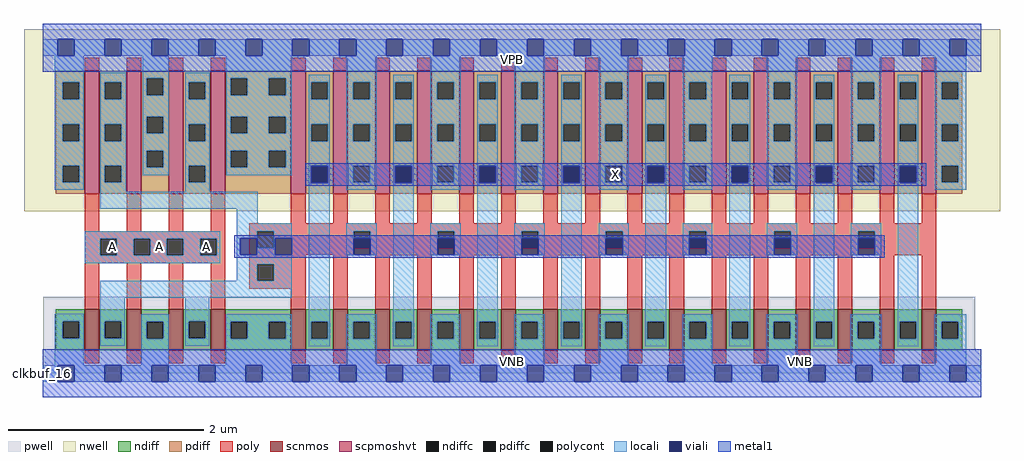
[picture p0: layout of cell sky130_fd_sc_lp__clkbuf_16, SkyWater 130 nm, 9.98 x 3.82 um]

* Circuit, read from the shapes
.subckt sky130_fd_sc_lp__clkbuf_16 A VGND VNB VPB VPWR X
XM1 n1 A VGND VNB sky130_fd_pr__nfet_01v8 w=0.42 l=0.15 m=4
XM2 X n1 VGND VNB sky130_fd_pr__nfet_01v8 w=0.42 l=0.15 m=16
XM3 n1 A VPWR VPB sky130_fd_pr__pfet_01v8_hvt w=1.26 l=0.15 m=4
XM4 X n1 VPWR VPB sky130_fd_pr__pfet_01v8_hvt w=1.26 l=0.15 m=16
.ends

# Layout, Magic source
magic
tech sky130A
magscale 1 2
<< nwell >>
rect -38 331 1958 704
<< pwell >>
rect 1 49 1907 157
rect 0 0 1920 49
<< scnmos >>
rect 86 47 116 131
rect 172 47 202 131
rect 258 47 288 131
rect 344 47 374 131
rect 508 47 538 131
rect 594 47 624 131
rect 680 47 710 131
rect 766 47 796 131
rect 852 47 882 131
rect 938 47 968 131
rect 1024 47 1054 131
rect 1110 47 1140 131
rect 1196 47 1226 131
rect 1282 47 1312 131
rect 1368 47 1398 131
rect 1454 47 1484 131
rect 1540 47 1570 131
rect 1626 47 1656 131
rect 1712 47 1742 131
rect 1798 47 1828 131
<< scpmoshvt >>
rect 86 367 116 619
rect 172 367 202 619
rect 258 367 288 619
rect 344 367 374 619
rect 508 367 538 619
rect 594 367 624 619
rect 680 367 710 619
rect 766 367 796 619
rect 852 367 882 619
rect 938 367 968 619
rect 1024 367 1054 619
rect 1110 367 1140 619
rect 1196 367 1226 619
rect 1282 367 1312 619
rect 1368 367 1398 619
rect 1454 367 1484 619
rect 1540 367 1570 619
rect 1626 367 1656 619
rect 1712 367 1742 619
rect 1798 367 1828 619
<< ndiff >>
rect 27 106 86 131
rect 27 72 41 106
rect 75 72 86 106
rect 27 47 86 72
rect 116 106 172 131
rect 116 72 127 106
rect 161 72 172 106
rect 116 47 172 72
rect 202 105 258 131
rect 202 71 213 105
rect 247 71 258 105
rect 202 47 258 71
rect 288 106 344 131
rect 288 72 299 106
rect 333 72 344 106
rect 288 47 344 72
rect 374 105 508 131
rect 374 71 385 105
rect 419 71 463 105
rect 497 71 508 105
rect 374 47 508 71
rect 538 105 594 131
rect 538 71 549 105
rect 583 71 594 105
rect 538 47 594 71
rect 624 105 680 131
rect 624 71 635 105
rect 669 71 680 105
rect 624 47 680 71
rect 710 105 766 131
rect 710 71 721 105
rect 755 71 766 105
rect 710 47 766 71
rect 796 105 852 131
rect 796 71 807 105
rect 841 71 852 105
rect 796 47 852 71
rect 882 105 938 131
rect 882 71 893 105
rect 927 71 938 105
rect 882 47 938 71
rect 968 105 1024 131
rect 968 71 979 105
rect 1013 71 1024 105
rect 968 47 1024 71
rect 1054 105 1110 131
rect 1054 71 1065 105
rect 1099 71 1110 105
rect 1054 47 1110 71
rect 1140 105 1196 131
rect 1140 71 1151 105
rect 1185 71 1196 105
rect 1140 47 1196 71
rect 1226 105 1282 131
rect 1226 71 1237 105
rect 1271 71 1282 105
rect 1226 47 1282 71
rect 1312 105 1368 131
rect 1312 71 1323 105
rect 1357 71 1368 105
rect 1312 47 1368 71
rect 1398 105 1454 131
rect 1398 71 1409 105
rect 1443 71 1454 105
rect 1398 47 1454 71
rect 1484 105 1540 131
rect 1484 71 1495 105
rect 1529 71 1540 105
rect 1484 47 1540 71
rect 1570 105 1626 131
rect 1570 71 1581 105
rect 1615 71 1626 105
rect 1570 47 1626 71
rect 1656 105 1712 131
rect 1656 71 1667 105
rect 1701 71 1712 105
rect 1656 47 1712 71
rect 1742 105 1798 131
rect 1742 71 1753 105
rect 1787 71 1798 105
rect 1742 47 1798 71
rect 1828 105 1881 131
rect 1828 71 1839 105
rect 1873 71 1881 105
rect 1828 47 1881 71
<< pdiff >>
rect 27 595 86 619
rect 27 561 41 595
rect 75 561 86 595
rect 27 509 86 561
rect 27 475 41 509
rect 75 475 86 509
rect 27 425 86 475
rect 27 391 41 425
rect 75 391 86 425
rect 27 367 86 391
rect 116 595 172 619
rect 116 561 127 595
rect 161 561 172 595
rect 116 509 172 561
rect 116 475 127 509
rect 161 475 172 509
rect 116 425 172 475
rect 116 391 127 425
rect 161 391 172 425
rect 116 367 172 391
rect 202 603 258 619
rect 202 569 213 603
rect 247 569 258 603
rect 202 525 258 569
rect 202 491 213 525
rect 247 491 258 525
rect 202 455 258 491
rect 202 421 213 455
rect 247 421 258 455
rect 202 367 258 421
rect 288 595 344 619
rect 288 561 299 595
rect 333 561 344 595
rect 288 509 344 561
rect 288 475 299 509
rect 333 475 344 509
rect 288 425 344 475
rect 288 391 299 425
rect 333 391 344 425
rect 288 367 344 391
rect 374 603 508 619
rect 374 569 385 603
rect 419 569 463 603
rect 497 569 508 603
rect 374 525 508 569
rect 374 491 385 525
rect 419 491 463 525
rect 497 491 508 525
rect 374 455 508 491
rect 374 421 385 455
rect 419 421 463 455
rect 497 421 508 455
rect 374 367 508 421
rect 538 595 594 619
rect 538 561 549 595
rect 583 561 594 595
rect 538 509 594 561
rect 538 475 549 509
rect 583 475 594 509
rect 538 425 594 475
rect 538 391 549 425
rect 583 391 594 425
rect 538 367 594 391
rect 624 595 680 619
rect 624 561 635 595
rect 669 561 680 595
rect 624 509 680 561
rect 624 475 635 509
rect 669 475 680 509
rect 624 425 680 475
rect 624 391 635 425
rect 669 391 680 425
rect 624 367 680 391
rect 710 595 766 619
rect 710 561 721 595
rect 755 561 766 595
rect 710 509 766 561
rect 710 475 721 509
rect 755 475 766 509
rect 710 425 766 475
rect 710 391 721 425
rect 755 391 766 425
rect 710 367 766 391
rect 796 595 852 619
rect 796 561 807 595
rect 841 561 852 595
rect 796 509 852 561
rect 796 475 807 509
rect 841 475 852 509
rect 796 425 852 475
rect 796 391 807 425
rect 841 391 852 425
rect 796 367 852 391
rect 882 595 938 619
rect 882 561 893 595
rect 927 561 938 595
rect 882 509 938 561
rect 882 475 893 509
rect 927 475 938 509
rect 882 425 938 475
rect 882 391 893 425
rect 927 391 938 425
rect 882 367 938 391
rect 968 595 1024 619
rect 968 561 979 595
rect 1013 561 1024 595
rect 968 509 1024 561
rect 968 475 979 509
rect 1013 475 1024 509
rect 968 425 1024 475
rect 968 391 979 425
rect 1013 391 1024 425
rect 968 367 1024 391
rect 1054 595 1110 619
rect 1054 561 1065 595
rect 1099 561 1110 595
rect 1054 509 1110 561
rect 1054 475 1065 509
rect 1099 475 1110 509
rect 1054 425 1110 475
rect 1054 391 1065 425
rect 1099 391 1110 425
rect 1054 367 1110 391
rect 1140 595 1196 619
rect 1140 561 1151 595
rect 1185 561 1196 595
rect 1140 509 1196 561
rect 1140 475 1151 509
rect 1185 475 1196 509
rect 1140 425 1196 475
rect 1140 391 1151 425
rect 1185 391 1196 425
rect 1140 367 1196 391
rect 1226 595 1282 619
rect 1226 561 1237 595
rect 1271 561 1282 595
rect 1226 509 1282 561
rect 1226 475 1237 509
rect 1271 475 1282 509
rect 1226 425 1282 475
rect 1226 391 1237 425
rect 1271 391 1282 425
rect 1226 367 1282 391
rect 1312 595 1368 619
rect 1312 561 1323 595
rect 1357 561 1368 595
rect 1312 509 1368 561
rect 1312 475 1323 509
rect 1357 475 1368 509
rect 1312 425 1368 475
rect 1312 391 1323 425
rect 1357 391 1368 425
rect 1312 367 1368 391
rect 1398 595 1454 619
rect 1398 561 1409 595
rect 1443 561 1454 595
rect 1398 509 1454 561
rect 1398 475 1409 509
rect 1443 475 1454 509
rect 1398 425 1454 475
rect 1398 391 1409 425
rect 1443 391 1454 425
rect 1398 367 1454 391
rect 1484 595 1540 619
rect 1484 561 1495 595
rect 1529 561 1540 595
rect 1484 509 1540 561
rect 1484 475 1495 509
rect 1529 475 1540 509
rect 1484 425 1540 475
rect 1484 391 1495 425
rect 1529 391 1540 425
rect 1484 367 1540 391
rect 1570 595 1626 619
rect 1570 561 1581 595
rect 1615 561 1626 595
rect 1570 509 1626 561
rect 1570 475 1581 509
rect 1615 475 1626 509
rect 1570 425 1626 475
rect 1570 391 1581 425
rect 1615 391 1626 425
rect 1570 367 1626 391
rect 1656 595 1712 619
rect 1656 561 1667 595
rect 1701 561 1712 595
rect 1656 509 1712 561
rect 1656 475 1667 509
rect 1701 475 1712 509
rect 1656 425 1712 475
rect 1656 391 1667 425
rect 1701 391 1712 425
rect 1656 367 1712 391
rect 1742 595 1798 619
rect 1742 561 1753 595
rect 1787 561 1798 595
rect 1742 509 1798 561
rect 1742 475 1753 509
rect 1787 475 1798 509
rect 1742 425 1798 475
rect 1742 391 1753 425
rect 1787 391 1798 425
rect 1742 367 1798 391
rect 1828 595 1881 619
rect 1828 561 1839 595
rect 1873 561 1881 595
rect 1828 509 1881 561
rect 1828 475 1839 509
rect 1873 475 1881 509
rect 1828 425 1881 475
rect 1828 391 1839 425
rect 1873 391 1881 425
rect 1828 367 1881 391
<< ndiffc >>
rect 41 72 75 106
rect 127 72 161 106
rect 213 71 247 105
rect 299 72 333 106
rect 385 71 419 105
rect 463 71 497 105
rect 549 71 583 105
rect 635 71 669 105
rect 721 71 755 105
rect 807 71 841 105
rect 893 71 927 105
rect 979 71 1013 105
rect 1065 71 1099 105
rect 1151 71 1185 105
rect 1237 71 1271 105
rect 1323 71 1357 105
rect 1409 71 1443 105
rect 1495 71 1529 105
rect 1581 71 1615 105
rect 1667 71 1701 105
rect 1753 71 1787 105
rect 1839 71 1873 105
<< pdiffc >>
rect 41 561 75 595
rect 41 475 75 509
rect 41 391 75 425
rect 127 561 161 595
rect 127 475 161 509
rect 127 391 161 425
rect 213 569 247 603
rect 213 491 247 525
rect 213 421 247 455
rect 299 561 333 595
rect 299 475 333 509
rect 299 391 333 425
rect 385 569 419 603
rect 463 569 497 603
rect 385 491 419 525
rect 463 491 497 525
rect 385 421 419 455
rect 463 421 497 455
rect 549 561 583 595
rect 549 475 583 509
rect 549 391 583 425
rect 635 561 669 595
rect 635 475 669 509
rect 635 391 669 425
rect 721 561 755 595
rect 721 475 755 509
rect 721 391 755 425
rect 807 561 841 595
rect 807 475 841 509
rect 807 391 841 425
rect 893 561 927 595
rect 893 475 927 509
rect 893 391 927 425
rect 979 561 1013 595
rect 979 475 1013 509
rect 979 391 1013 425
rect 1065 561 1099 595
rect 1065 475 1099 509
rect 1065 391 1099 425
rect 1151 561 1185 595
rect 1151 475 1185 509
rect 1151 391 1185 425
rect 1237 561 1271 595
rect 1237 475 1271 509
rect 1237 391 1271 425
rect 1323 561 1357 595
rect 1323 475 1357 509
rect 1323 391 1357 425
rect 1409 561 1443 595
rect 1409 475 1443 509
rect 1409 391 1443 425
rect 1495 561 1529 595
rect 1495 475 1529 509
rect 1495 391 1529 425
rect 1581 561 1615 595
rect 1581 475 1615 509
rect 1581 391 1615 425
rect 1667 561 1701 595
rect 1667 475 1701 509
rect 1667 391 1701 425
rect 1753 561 1787 595
rect 1753 475 1787 509
rect 1753 391 1787 425
rect 1839 561 1873 595
rect 1839 475 1873 509
rect 1839 391 1873 425
<< poly >>
rect 86 619 116 645
rect 172 619 202 645
rect 258 619 288 645
rect 344 619 374 645
rect 508 619 538 645
rect 594 619 624 645
rect 680 619 710 645
rect 766 619 796 645
rect 852 619 882 645
rect 938 619 968 645
rect 1024 619 1054 645
rect 1110 619 1140 645
rect 1196 619 1226 645
rect 1282 619 1312 645
rect 1368 619 1398 645
rect 1454 619 1484 645
rect 1540 619 1570 645
rect 1626 619 1656 645
rect 1712 619 1742 645
rect 1798 619 1828 645
rect 86 291 116 367
rect 172 291 202 367
rect 258 291 288 367
rect 344 291 374 367
rect 508 307 538 367
rect 594 307 624 367
rect 680 307 710 367
rect 766 307 796 367
rect 852 307 882 367
rect 938 307 968 367
rect 1024 307 1054 367
rect 1110 307 1140 367
rect 1196 307 1226 367
rect 1282 307 1312 367
rect 1368 307 1398 367
rect 1454 307 1484 367
rect 1540 307 1570 367
rect 1626 307 1656 367
rect 1712 307 1742 367
rect 1798 307 1828 367
rect 86 275 374 291
rect 86 241 118 275
rect 152 241 186 275
rect 220 241 254 275
rect 288 241 322 275
rect 356 241 374 275
rect 86 225 374 241
rect 86 131 116 225
rect 172 131 202 225
rect 258 131 288 225
rect 344 131 374 225
rect 423 291 1828 307
rect 423 257 439 291
rect 473 257 636 291
rect 670 257 808 291
rect 842 257 980 291
rect 1014 257 1152 291
rect 1186 257 1323 291
rect 1357 257 1496 291
rect 1530 257 1668 291
rect 1702 257 1828 291
rect 423 242 1828 257
rect 423 223 538 242
rect 423 189 439 223
rect 473 189 538 223
rect 423 173 538 189
rect 508 131 538 173
rect 594 241 1828 242
rect 594 131 624 241
rect 680 131 710 241
rect 766 131 796 241
rect 852 131 882 241
rect 938 131 968 241
rect 1024 131 1054 241
rect 1110 131 1140 241
rect 1196 131 1226 241
rect 1282 131 1312 241
rect 1368 131 1398 241
rect 1454 131 1484 241
rect 1540 131 1570 241
rect 1626 131 1656 241
rect 1712 131 1742 241
rect 1798 131 1828 241
rect 86 21 116 47
rect 172 21 202 47
rect 258 21 288 47
rect 344 21 374 47
rect 508 21 538 47
rect 594 21 624 47
rect 680 21 710 47
rect 766 21 796 47
rect 852 21 882 47
rect 938 21 968 47
rect 1024 21 1054 47
rect 1110 21 1140 47
rect 1196 21 1226 47
rect 1282 21 1312 47
rect 1368 21 1398 47
rect 1454 21 1484 47
rect 1540 21 1570 47
rect 1626 21 1656 47
rect 1712 21 1742 47
rect 1798 21 1828 47
<< polycont >>
rect 118 241 152 275
rect 186 241 220 275
rect 254 241 288 275
rect 322 241 356 275
rect 439 257 473 291
rect 636 257 670 291
rect 808 257 842 291
rect 980 257 1014 291
rect 1152 257 1186 291
rect 1323 257 1357 291
rect 1496 257 1530 291
rect 1668 257 1702 291
rect 439 189 473 223
<< locali >>
rect 0 649 31 683
rect 65 649 127 683
rect 161 649 223 683
rect 257 649 319 683
rect 353 649 415 683
rect 449 649 511 683
rect 545 649 607 683
rect 641 649 703 683
rect 737 649 799 683
rect 833 649 895 683
rect 929 649 991 683
rect 1025 649 1087 683
rect 1121 649 1183 683
rect 1217 649 1279 683
rect 1313 649 1375 683
rect 1409 649 1471 683
rect 1505 649 1567 683
rect 1601 649 1663 683
rect 1697 649 1759 683
rect 1793 649 1855 683
rect 1889 649 1920 683
rect 25 595 84 649
rect 25 561 41 595
rect 75 561 84 595
rect 25 509 84 561
rect 25 475 41 509
rect 75 475 84 509
rect 25 425 84 475
rect 25 391 41 425
rect 75 391 84 425
rect 25 375 84 391
rect 118 595 171 615
rect 118 561 127 595
rect 161 561 171 595
rect 118 509 171 561
rect 118 475 127 509
rect 161 475 171 509
rect 118 425 171 475
rect 118 391 127 425
rect 161 391 171 425
rect 205 603 258 649
rect 205 569 213 603
rect 247 569 258 603
rect 205 525 258 569
rect 205 491 213 525
rect 247 491 258 525
rect 205 455 258 491
rect 205 421 213 455
rect 247 421 258 455
rect 205 405 258 421
rect 292 595 342 615
rect 292 561 299 595
rect 333 561 342 595
rect 292 509 342 561
rect 292 475 299 509
rect 333 475 342 509
rect 292 425 342 475
rect 118 371 171 391
rect 292 391 299 425
rect 333 391 342 425
rect 376 603 510 649
rect 376 569 385 603
rect 419 569 463 603
rect 497 569 510 603
rect 376 525 510 569
rect 376 491 385 525
rect 419 491 463 525
rect 497 491 510 525
rect 376 455 510 491
rect 376 421 385 455
rect 419 421 463 455
rect 497 421 510 455
rect 376 405 510 421
rect 544 595 587 611
rect 544 561 549 595
rect 583 561 587 595
rect 544 509 587 561
rect 544 475 549 509
rect 583 475 587 509
rect 544 425 587 475
rect 292 371 342 391
rect 544 390 549 425
rect 583 390 587 425
rect 118 337 440 371
rect 397 307 440 337
rect 397 291 510 307
rect 86 275 363 291
rect 86 241 118 275
rect 152 241 186 275
rect 220 241 254 275
rect 288 241 322 275
rect 356 241 363 275
rect 86 225 363 241
rect 397 276 439 291
rect 397 242 404 276
rect 438 257 439 276
rect 473 276 510 291
rect 473 257 476 276
rect 438 242 476 257
rect 397 223 510 242
rect 397 189 439 223
rect 473 189 510 223
rect 118 155 510 189
rect 25 106 84 122
rect 25 72 41 106
rect 75 72 84 106
rect 25 17 84 72
rect 118 106 168 155
rect 118 72 127 106
rect 161 72 168 106
rect 118 56 168 72
rect 202 105 258 121
rect 202 71 213 105
rect 247 71 258 105
rect 202 17 258 71
rect 292 106 341 155
rect 292 72 299 106
rect 333 72 341 106
rect 292 56 341 72
rect 375 105 510 121
rect 375 71 385 105
rect 419 71 463 105
rect 497 71 510 105
rect 375 17 510 71
rect 544 105 587 390
rect 621 595 683 649
rect 621 561 635 595
rect 669 561 683 595
rect 621 509 683 561
rect 621 475 635 509
rect 669 475 683 509
rect 621 425 683 475
rect 621 391 635 425
rect 669 391 683 425
rect 621 375 683 391
rect 717 595 759 611
rect 717 561 721 595
rect 755 561 759 595
rect 717 509 759 561
rect 717 475 721 509
rect 755 475 759 509
rect 717 425 759 475
rect 717 390 721 425
rect 755 390 759 425
rect 621 291 683 307
rect 621 242 636 291
rect 670 242 683 291
rect 621 241 683 242
rect 544 71 549 105
rect 583 71 587 105
rect 544 55 587 71
rect 621 105 683 121
rect 621 71 635 105
rect 669 71 683 105
rect 621 17 683 71
rect 717 105 759 390
rect 793 595 855 649
rect 793 561 807 595
rect 841 561 855 595
rect 793 509 855 561
rect 793 475 807 509
rect 841 475 855 509
rect 793 425 855 475
rect 793 391 807 425
rect 841 391 855 425
rect 793 375 855 391
rect 889 595 931 611
rect 889 561 893 595
rect 927 561 931 595
rect 889 509 931 561
rect 889 475 893 509
rect 927 475 931 509
rect 889 425 931 475
rect 889 390 893 425
rect 927 390 931 425
rect 793 291 855 307
rect 793 242 808 291
rect 842 242 855 291
rect 793 241 855 242
rect 717 71 721 105
rect 755 71 759 105
rect 717 55 759 71
rect 793 105 855 121
rect 793 71 807 105
rect 841 71 855 105
rect 793 17 855 71
rect 889 105 931 390
rect 965 595 1027 649
rect 965 561 979 595
rect 1013 561 1027 595
rect 965 509 1027 561
rect 965 475 979 509
rect 1013 475 1027 509
rect 965 425 1027 475
rect 965 391 979 425
rect 1013 391 1027 425
rect 965 375 1027 391
rect 1061 595 1103 611
rect 1061 561 1065 595
rect 1099 561 1103 595
rect 1061 509 1103 561
rect 1061 475 1065 509
rect 1099 475 1103 509
rect 1061 425 1103 475
rect 1061 390 1065 425
rect 1099 390 1103 425
rect 965 291 1027 307
rect 965 242 980 291
rect 1014 242 1027 291
rect 965 241 1027 242
rect 889 71 893 105
rect 927 71 931 105
rect 889 55 931 71
rect 965 105 1027 121
rect 965 71 979 105
rect 1013 71 1027 105
rect 965 17 1027 71
rect 1061 105 1103 390
rect 1137 595 1199 649
rect 1137 561 1151 595
rect 1185 561 1199 595
rect 1137 509 1199 561
rect 1137 475 1151 509
rect 1185 475 1199 509
rect 1137 425 1199 475
rect 1137 391 1151 425
rect 1185 391 1199 425
rect 1137 375 1199 391
rect 1233 595 1275 611
rect 1233 561 1237 595
rect 1271 561 1275 595
rect 1233 509 1275 561
rect 1233 475 1237 509
rect 1271 475 1275 509
rect 1233 425 1275 475
rect 1233 390 1237 425
rect 1271 390 1275 425
rect 1137 291 1199 307
rect 1137 242 1152 291
rect 1186 242 1199 291
rect 1137 241 1199 242
rect 1061 71 1065 105
rect 1099 71 1103 105
rect 1061 55 1103 71
rect 1137 105 1199 121
rect 1137 71 1151 105
rect 1185 71 1199 105
rect 1137 17 1199 71
rect 1233 105 1275 390
rect 1309 595 1370 649
rect 1309 561 1323 595
rect 1357 561 1370 595
rect 1309 509 1370 561
rect 1309 475 1323 509
rect 1357 475 1370 509
rect 1309 425 1370 475
rect 1309 391 1323 425
rect 1357 391 1370 425
rect 1309 375 1370 391
rect 1404 595 1447 611
rect 1404 561 1409 595
rect 1443 561 1447 595
rect 1404 509 1447 561
rect 1404 475 1409 509
rect 1443 475 1447 509
rect 1404 425 1447 475
rect 1404 390 1409 425
rect 1443 390 1447 425
rect 1309 291 1370 307
rect 1309 242 1323 291
rect 1357 242 1370 291
rect 1309 241 1370 242
rect 1233 71 1237 105
rect 1271 71 1275 105
rect 1233 55 1275 71
rect 1309 105 1370 121
rect 1309 71 1323 105
rect 1357 71 1370 105
rect 1309 17 1370 71
rect 1404 105 1447 390
rect 1481 595 1543 649
rect 1481 561 1495 595
rect 1529 561 1543 595
rect 1481 509 1543 561
rect 1481 475 1495 509
rect 1529 475 1543 509
rect 1481 425 1543 475
rect 1481 391 1495 425
rect 1529 391 1543 425
rect 1481 375 1543 391
rect 1577 595 1619 611
rect 1577 561 1581 595
rect 1615 561 1619 595
rect 1577 509 1619 561
rect 1577 475 1581 509
rect 1615 475 1619 509
rect 1577 425 1619 475
rect 1577 390 1581 425
rect 1615 390 1619 425
rect 1481 291 1543 307
rect 1481 242 1496 291
rect 1530 242 1543 291
rect 1481 241 1543 242
rect 1404 71 1409 105
rect 1443 71 1447 105
rect 1404 55 1447 71
rect 1481 105 1543 121
rect 1481 71 1495 105
rect 1529 71 1543 105
rect 1481 17 1543 71
rect 1577 105 1619 390
rect 1653 595 1715 649
rect 1653 561 1667 595
rect 1701 561 1715 595
rect 1653 509 1715 561
rect 1653 475 1667 509
rect 1701 475 1715 509
rect 1653 425 1715 475
rect 1653 391 1667 425
rect 1701 391 1715 425
rect 1653 375 1715 391
rect 1749 595 1791 611
rect 1749 561 1753 595
rect 1787 561 1791 595
rect 1749 509 1791 561
rect 1749 475 1753 509
rect 1787 475 1791 509
rect 1749 425 1791 475
rect 1749 390 1753 425
rect 1787 390 1791 425
rect 1653 291 1715 307
rect 1653 242 1668 291
rect 1702 242 1715 291
rect 1653 241 1715 242
rect 1577 71 1581 105
rect 1615 71 1619 105
rect 1577 55 1619 71
rect 1653 105 1715 121
rect 1653 71 1667 105
rect 1701 71 1715 105
rect 1653 17 1715 71
rect 1749 105 1791 390
rect 1825 595 1889 649
rect 1825 561 1839 595
rect 1873 561 1889 595
rect 1825 509 1889 561
rect 1825 475 1839 509
rect 1873 475 1889 509
rect 1825 425 1889 475
rect 1825 391 1839 425
rect 1873 391 1889 425
rect 1825 375 1889 391
rect 1749 71 1753 105
rect 1787 71 1791 105
rect 1749 55 1791 71
rect 1825 105 1889 121
rect 1825 71 1839 105
rect 1873 71 1889 105
rect 1825 17 1889 71
rect 0 -17 31 17
rect 65 -17 127 17
rect 161 -17 223 17
rect 257 -17 319 17
rect 353 -17 415 17
rect 449 -17 511 17
rect 545 -17 607 17
rect 641 -17 703 17
rect 737 -17 799 17
rect 833 -17 895 17
rect 929 -17 991 17
rect 1025 -17 1087 17
rect 1121 -17 1183 17
rect 1217 -17 1279 17
rect 1313 -17 1375 17
rect 1409 -17 1471 17
rect 1505 -17 1567 17
rect 1601 -17 1663 17
rect 1697 -17 1759 17
rect 1793 -17 1855 17
rect 1889 -17 1920 17
<< viali >>
rect 31 649 65 683
rect 127 649 161 683
rect 223 649 257 683
rect 319 649 353 683
rect 415 649 449 683
rect 511 649 545 683
rect 607 649 641 683
rect 703 649 737 683
rect 799 649 833 683
rect 895 649 929 683
rect 991 649 1025 683
rect 1087 649 1121 683
rect 1183 649 1217 683
rect 1279 649 1313 683
rect 1375 649 1409 683
rect 1471 649 1505 683
rect 1567 649 1601 683
rect 1663 649 1697 683
rect 1759 649 1793 683
rect 1855 649 1889 683
rect 549 391 583 424
rect 549 390 583 391
rect 404 242 438 276
rect 476 242 510 276
rect 721 391 755 424
rect 721 390 755 391
rect 636 257 670 276
rect 636 242 670 257
rect 893 391 927 424
rect 893 390 927 391
rect 808 257 842 276
rect 808 242 842 257
rect 1065 391 1099 424
rect 1065 390 1099 391
rect 980 257 1014 276
rect 980 242 1014 257
rect 1237 391 1271 424
rect 1237 390 1271 391
rect 1152 257 1186 276
rect 1152 242 1186 257
rect 1409 391 1443 424
rect 1409 390 1443 391
rect 1323 257 1357 276
rect 1323 242 1357 257
rect 1581 391 1615 424
rect 1581 390 1615 391
rect 1496 257 1530 276
rect 1496 242 1530 257
rect 1753 391 1787 424
rect 1753 390 1787 391
rect 1668 257 1702 276
rect 1668 242 1702 257
rect 31 -17 65 17
rect 127 -17 161 17
rect 223 -17 257 17
rect 319 -17 353 17
rect 415 -17 449 17
rect 511 -17 545 17
rect 607 -17 641 17
rect 703 -17 737 17
rect 799 -17 833 17
rect 895 -17 929 17
rect 991 -17 1025 17
rect 1087 -17 1121 17
rect 1183 -17 1217 17
rect 1279 -17 1313 17
rect 1375 -17 1409 17
rect 1471 -17 1505 17
rect 1567 -17 1601 17
rect 1663 -17 1697 17
rect 1759 -17 1793 17
rect 1855 -17 1889 17
<< metal1 >>
rect 0 683 1920 715
rect 0 649 31 683
rect 65 649 127 683
rect 161 649 223 683
rect 257 649 319 683
rect 353 649 415 683
rect 449 649 511 683
rect 545 649 607 683
rect 641 649 703 683
rect 737 649 799 683
rect 833 649 895 683
rect 929 649 991 683
rect 1025 649 1087 683
rect 1121 649 1183 683
rect 1217 649 1279 683
rect 1313 649 1375 683
rect 1409 649 1471 683
rect 1505 649 1567 683
rect 1601 649 1663 683
rect 1697 649 1759 683
rect 1793 649 1855 683
rect 1889 649 1920 683
rect 0 617 1920 649
rect 537 424 1807 430
rect 537 390 549 424
rect 583 390 721 424
rect 755 390 893 424
rect 927 390 1065 424
rect 1099 390 1237 424
rect 1271 390 1409 424
rect 1443 390 1581 424
rect 1615 390 1753 424
rect 1787 390 1807 424
rect 537 384 1807 390
rect 392 276 1722 282
rect 392 242 404 276
rect 438 242 476 276
rect 510 242 636 276
rect 670 242 808 276
rect 842 242 980 276
rect 1014 242 1152 276
rect 1186 242 1323 276
rect 1357 242 1496 276
rect 1530 242 1668 276
rect 1702 242 1722 276
rect 392 236 1722 242
rect 0 17 1920 49
rect 0 -17 31 17
rect 65 -17 127 17
rect 161 -17 223 17
rect 257 -17 319 17
rect 353 -17 415 17
rect 449 -17 511 17
rect 545 -17 607 17
rect 641 -17 703 17
rect 737 -17 799 17
rect 833 -17 895 17
rect 929 -17 991 17
rect 1025 -17 1087 17
rect 1121 -17 1183 17
rect 1217 -17 1279 17
rect 1313 -17 1375 17
rect 1409 -17 1471 17
rect 1505 -17 1567 17
rect 1601 -17 1663 17
rect 1697 -17 1759 17
rect 1793 -17 1855 17
rect 1889 -17 1920 17
rect 0 -49 1920 -17
<< labels >>
flabel pwell s 0 0 1920 49 0 FreeSans 200 0 0 0 VNB
port 3 nsew ground bidirectional
flabel pwell s 1551 24 1551 24 0 FreeSans 200 0 0 0 VNB
port 3 nsew
flabel nwell s 0 617 1920 666 0 FreeSans 200 0 0 0 VPB
port 4 nsew power bidirectional
rlabel comment s 0 0 0 0 4 clkbuf_16
flabel metal1 s 0 617 1920 666 0 FreeSans 340 0 0 0 VPWR
port 5 nsew power bidirectional
flabel metal1 s 0 0 1920 49 0 FreeSans 340 0 0 0 VGND
port 2 nsew ground bidirectional
flabel metal1 s 537 390 1807 424 0 FreeSans 200 0 0 0 X
port 6 nsew signal output
flabel locali s 319 242 353 276 0 FreeSans 340 0 0 0 A
port 1 nsew signal input
flabel locali s 223 242 257 276 0 FreeSans 340 0 0 0 A
port 1 nsew signal input
flabel locali s 127 242 161 276 0 FreeSans 340 0 0 0 A
port 1 nsew signal input
<< properties >>
string LEFsite unit
string LEFclass CORE
string FIXED_BBOX 0 0 1920 666
string GDS_FILE $PDKPATH/libs.ref/sky130_fd_sc_lp/gds/sky130_fd_sc_lp.gds
string LEFsymmetry X Y R90
string GDS_END 681728
string GDS_START 666216
<< end >>
